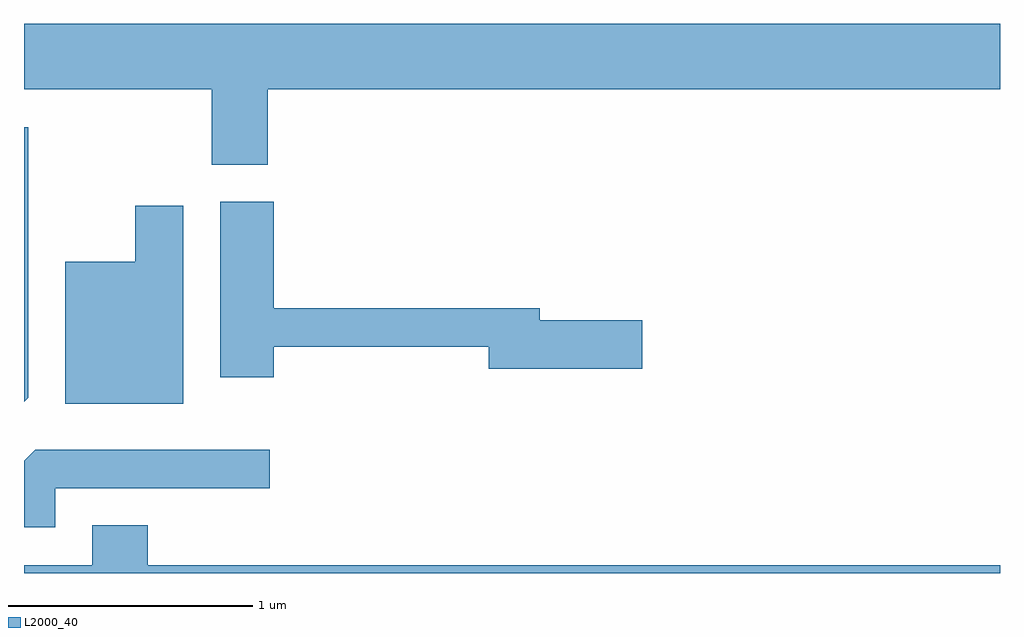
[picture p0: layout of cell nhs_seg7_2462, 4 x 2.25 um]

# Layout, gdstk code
import gdstk
lib = gdstk.Library(unit=1e-6, precision=1e-09)
def P(c, l, *ps):  # polygons
    for p in ps: c.add(gdstk.Polygon(p, *l))
L2000_40 = (2000, 40)

nhs_seg7_2462 = lib.new_cell('nhs_seg7_2462')
P(nhs_seg7_2462, L2000_40, [(260.609,1794.236),(263.611,1794.236),(263.611,1794.504),(259.611,1794.504),(259.611,1794.236),(260.381,1794.236),(260.381,1793.926),(260.609,1793.926)],
  [(259.629,1792.972),(259.629,1794.079),(259.611,1794.079),(259.611,1792.954)],
  [(260.634,1793.181),(261.516,1793.181),(261.516,1793.091),(262.144,1793.091),(262.144,1793.289),(261.724,1793.289),(261.724,1793.339),(260.634,1793.339),(260.634,1793.774),(260.416,1793.774),(260.416,1793.056),(260.634,1793.056)],
  [(260.264,1793.759),(260.066,1793.759),(260.066,1793.529),(259.781,1793.529),(259.781,1792.946),(260.264,1792.946)],
  [(259.739,1792.601),(260.618,1792.601),(260.618,1792.759),(259.657,1792.759),(259.611,1792.714),(259.611,1792.441),(259.739,1792.441)],
  [(260.119,1792.449),(259.891,1792.449),(259.891,1792.284),(259.611,1792.284),(259.611,1792.252),(263.611,1792.252),(263.611,1792.284),(260.119,1792.284)])

lib.write_gds('nhs_seg7_2462.gds')
